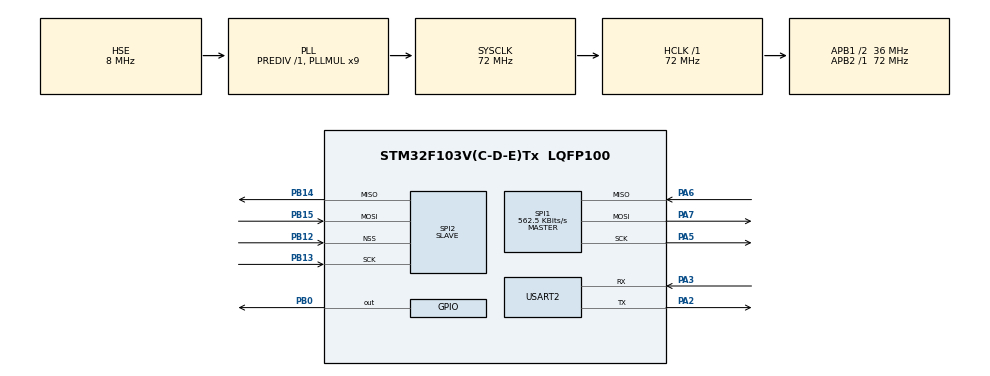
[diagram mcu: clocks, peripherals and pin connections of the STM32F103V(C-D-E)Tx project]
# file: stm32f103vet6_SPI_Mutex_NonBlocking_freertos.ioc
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FREERTOS.Tasks01=defaultTask,0,128,StartDefaultTask,Default,NULL,Dynamic,NULL,NULL;SpiTask1,0,256,StartSpiTask1,Default,NULL,Dynamic,NULL,NULL;SpiTask2,0,256,StartSpiTask2,Default,NULL,Dynamic,NULL,NULL
Mcu.Family=STM32F1
Mcu.Name=STM32F103V(C-D-E)Tx
Mcu.Package=LQFP100
NVIC.PriorityGroup=NVIC_PRIORITYGROUP_4
NVIC.SPI1_IRQn=true\:5\:0\:true\:false\:true\:true\:true\:true\:true
NVIC.SPI2_IRQn=true\:5\:0\:true\:false\:true\:true\:true\:true\:true
OSC_IN.Mode=HSE-External-Oscillator
OSC_IN.Signal=RCC_OSC_IN
OSC_OUT.Mode=HSE-External-Oscillator
OSC_OUT.Signal=RCC_OSC_OUT
PA13.Mode=Serial_Wire
PA13.Signal=SYS_JTMS-SWDIO
PA14.Mode=Serial_Wire
PA14.Signal=SYS_JTCK-SWCLK
PA2.Mode=Asynchronous
PA2.Signal=USART2_TX
PA3.Mode=Asynchronous
PA3.Signal=USART2_RX
PA5.Mode=Full_Duplex_Master
PA5.Signal=SPI1_SCK
PA6.Mode=Full_Duplex_Master
PA6.Signal=SPI1_MISO
PA7.Mode=Full_Duplex_Master
PA7.Signal=SPI1_MOSI
PB0.PinState=GPIO_PIN_SET
PB0.Signal=GPIO_Output
PB12.GPIO_PuPd=GPIO_NOPULL
PB12.Mode=NSS_Signal_Hard_Input
PB12.Signal=SPI2_NSS
PB13.Mode=Full_Duplex_Slave
PB13.Signal=SPI2_SCK
PB14.Mode=Full_Duplex_Slave
PB14.Signal=SPI2_MISO
PB15.Mode=Full_Duplex_Slave
PB15.Signal=SPI2_MOSI
ProjectManager.HeapSize=0x200
ProjectManager.StackSize=0x400
ProjectManager.TargetToolchain=STM32CubeIDE
RCC.AHBFreq_Value=72000000
RCC.APB1CLKDivider=RCC_HCLK_DIV2
RCC.APB1Freq_Value=36000000
RCC.APB1TimFreq_Value=72000000
RCC.APB2Freq_Value=72000000
RCC.APB2TimFreq_Value=72000000
RCC.HCLKFreq_Value=72000000
RCC.PLLMUL=RCC_PLL_MUL9
RCC.PLLSourceVirtual=RCC_PLLSOURCE_HSE
RCC.SYSCLKFreq_VALUE=72000000
RCC.SYSCLKSource=RCC_SYSCLKSOURCE_PLLCLK
RCC.USBFreq_Value=72000000
SPI1.BaudRatePrescaler=SPI_BAUDRATEPRESCALER_128
SPI1.CLKPhase=SPI_PHASE_2EDGE
SPI1.CalculateBaudRate=562.5 KBits/s
SPI1.Direction=SPI_DIRECTION_2LINES
SPI1.Mode=SPI_MODE_MASTER
SPI1.VirtualType=VM_MASTER
SPI2.CLKPhase=SPI_PHASE_2EDGE
SPI2.Direction=SPI_DIRECTION_2LINES
SPI2.Mode=SPI_MODE_SLAVE
SPI2.VirtualNSS=VM_NSSHARD
SPI2.VirtualType=VM_SLAVE
USART2.VirtualMode=VM_ASYNC
VP_FREERTOS_VS_CMSIS_V1.Mode=CMSIS_V1
board=custom

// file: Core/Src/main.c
/* USER CODE BEGIN Header */
/**
  ******************************************************************************
  * @file           : main.c
  * @brief          : Main program body
  ******************************************************************************
  * @attention
  *
  * Copyright (c) 2026 STMicroelectronics.
  * All rights reserved.
  *
  * This software is licensed under terms that can be found in the LICENSE file
  * in the root directory of this software component.
  * If no LICENSE file comes with this software, it is provided AS-IS.
  *
  ******************************************************************************
  */
/* USER CODE END Header */
#include "main.h"
#include "cmsis_os.h"

/* USER CODE BEGIN Includes */
#include "task.h"
#include "semphr.h"
#include <stdio.h>
#include <string.h>

/* USER CODE END Includes */

/* USER CODE BEGIN PD */
#define SPI_DATA_LEN              4

#define SPI_STATUS_WAIT           0
#define SPI_STATUS_DONE           1
#define SPI_STATUS_ERROR          0xFF

#define SPI_SLAVE_BASE_RESPONSE   0x5A
#define SPI_TRANSACTION_TIMEOUT   pdMS_TO_TICKS(100)

/* USER CODE END PD */

SPI_HandleTypeDef hspi1;
SPI_HandleTypeDef hspi2;

UART_HandleTypeDef huart2;

osThreadId defaultTaskHandle;
osThreadId SpiTask1Handle;
osThreadId SpiTask2Handle;
/* USER CODE BEGIN PV */
SemaphoreHandle_t spiMutexHandle;
TaskHandle_t spiWaitingTaskHandle = NULL;

volatile uint8_t spi1Status = SPI_STATUS_WAIT;
volatile uint8_t spi2Status = SPI_STATUS_WAIT;

uint8_t slaveTx[SPI_DATA_LEN];
uint8_t slaveRx[SPI_DATA_LEN];

/* USER CODE END PV */

void SystemClock_Config(void);
static void MX_GPIO_Init(void);
static void MX_SPI1_Init(void);
static void MX_SPI2_Init(void);
static void MX_USART2_UART_Init(void);
void StartDefaultTask(void const * argument);
void StartSpiTask1(void const * argument);
void StartSpiTask2(void const * argument);

/* USER CODE BEGIN PFP */
HAL_StatusTypeDef SPI1_Transaction(uint8_t *txBuf,
                                   uint8_t *rxBuf,
                                   uint16_t len,
                                   TickType_t timeout);

/* USER CODE END PFP */

int main(void)
{

  /* MCU Configuration--------------------------------------------------------*/

  /* Reset of all peripherals, Initializes the Flash interface and the Systick. */
  HAL_Init();

  /* Configure the system clock */
  SystemClock_Config();

  /* Initialize all configured peripherals */
  MX_GPIO_Init();
  MX_SPI1_Init();
  MX_SPI2_Init();
  MX_USART2_UART_Init();
  /* USER CODE BEGIN 2 */
  spiMutexHandle = xSemaphoreCreateMutex();
  if (spiMutexHandle == NULL)
  {
      Error_Handler();
  }

  /* USER CODE END 2 */

  /* Create the thread(s) */
  /* definition and creation of defaultTask */
  osThreadDef(defaultTask, StartDefaultTask, osPriorityNormal, 0, 128);
  defaultTaskHandle = osThreadCreate(osThread(defaultTask), NULL);

  /* definition and creation of SpiTask1 */
  osThreadDef(SpiTask1, StartSpiTask1, osPriorityNormal, 0, 256);
  SpiTask1Handle = osThreadCreate(osThread(SpiTask1), NULL);

  /* definition and creation of SpiTask2 */
  osThreadDef(SpiTask2, StartSpiTask2, osPriorityNormal, 0, 256);
  SpiTask2Handle = osThreadCreate(osThread(SpiTask2), NULL);

  /* Start scheduler */
  osKernelStart();

  /* We should never get here as control is now taken by the scheduler */

  /* Infinite loop */
  while (1)
  {

  }
}

void SystemClock_Config(void)
{
  RCC_OscInitTypeDef RCC_OscInitStruct = {0};
  RCC_ClkInitTypeDef RCC_ClkInitStruct = {0};

  /** Initializes the RCC Oscillators according to the specified parameters
  * in the RCC_OscInitTypeDef structure.
  */
  RCC_OscInitStruct.OscillatorType = RCC_OSCILLATORTYPE_HSE;
  RCC_OscInitStruct.HSEState = RCC_HSE_ON;
  RCC_OscInitStruct.HSEPredivValue = RCC_HSE_PREDIV_DIV1;
  RCC_OscInitStruct.HSIState = RCC_HSI_ON;
  RCC_OscInitStruct.PLL.PLLState = RCC_PLL_ON;
  RCC_OscInitStruct.PLL.PLLSource = RCC_PLLSOURCE_HSE;
  RCC_OscInitStruct.PLL.PLLMUL = RCC_PLL_MUL9;
  if (HAL_RCC_OscConfig(&RCC_OscInitStruct) != HAL_OK)
  {
    Error_Handler();
  }

  /** Initializes the CPU, AHB and APB buses clocks
  */
  RCC_ClkInitStruct.ClockType = RCC_CLOCKTYPE_HCLK|RCC_CLOCKTYPE_SYSCLK
                              |RCC_CLOCKTYPE_PCLK1|RCC_CLOCKTYPE_PCLK2;
  RCC_ClkInitStruct.SYSCLKSource = RCC_SYSCLKSOURCE_PLLCLK;
  RCC_ClkInitStruct.AHBCLKDivider = RCC_SYSCLK_DIV1;
  RCC_ClkInitStruct.APB1CLKDivider = RCC_HCLK_DIV2;
  RCC_ClkInitStruct.APB2CLKDivider = RCC_HCLK_DIV1;

  if (HAL_RCC_ClockConfig(&RCC_ClkInitStruct, FLASH_LATENCY_2) != HAL_OK)
  {
    Error_Handler();
  }
}

static void MX_SPI1_Init(void)
{

  /* SPI1 parameter configuration*/
  hspi1.Instance = SPI1;
  hspi1.Init.Mode = SPI_MODE_MASTER;
  hspi1.Init.Direction = SPI_DIRECTION_2LINES;
  hspi1.Init.DataSize = SPI_DATASIZE_8BIT;
  hspi1.Init.CLKPolarity = SPI_POLARITY_LOW;
  hspi1.Init.CLKPhase = SPI_PHASE_2EDGE;
  hspi1.Init.NSS = SPI_NSS_SOFT;
  hspi1.Init.BaudRatePrescaler = SPI_BAUDRATEPRESCALER_128;
  hspi1.Init.FirstBit = SPI_FIRSTBIT_MSB;
  hspi1.Init.TIMode = SPI_TIMODE_DISABLE;
  hspi1.Init.CRCCalculation = SPI_CRCCALCULATION_DISABLE;
  hspi1.Init.CRCPolynomial = 10;
  if (HAL_SPI_Init(&hspi1) != HAL_OK)
  {
    Error_Handler();
  }

}

static void MX_SPI2_Init(void)
{

  /* SPI2 parameter configuration*/
  hspi2.Instance = SPI2;
  hspi2.Init.Mode = SPI_MODE_SLAVE;
  hspi2.Init.Direction = SPI_DIRECTION_2LINES;
  hspi2.Init.DataSize = SPI_DATASIZE_8BIT;
  hspi2.Init.CLKPolarity = SPI_POLARITY_LOW;
  hspi2.Init.CLKPhase = SPI_PHASE_2EDGE;
  hspi2.Init.NSS = SPI_NSS_HARD_INPUT;
  hspi2.Init.FirstBit = SPI_FIRSTBIT_MSB;
  hspi2.Init.TIMode = SPI_TIMODE_DISABLE;
  hspi2.Init.CRCCalculation = SPI_CRCCALCULATION_DISABLE;
  hspi2.Init.CRCPolynomial = 10;
  if (HAL_SPI_Init(&hspi2) != HAL_OK)
  {
    Error_Handler();
  }

}

static void MX_USART2_UART_Init(void)
{

  huart2.Instance = USART2;
  huart2.Init.BaudRate = 115200;
  huart2.Init.WordLength = UART_WORDLENGTH_8B;
  huart2.Init.StopBits = UART_STOPBITS_1;
  huart2.Init.Parity = UART_PARITY_NONE;
  huart2.Init.Mode = UART_MODE_TX_RX;
  huart2.Init.HwFlowCtl = UART_HWCONTROL_NONE;
  huart2.Init.OverSampling = UART_OVERSAMPLING_16;
  if (HAL_UART_Init(&huart2) != HAL_OK)
  {
    Error_Handler();
  }

}

static void MX_GPIO_Init(void)
{
  GPIO_InitTypeDef GPIO_InitStruct = {0};

  /* GPIO Ports Clock Enable */
  __HAL_RCC_GPIOA_CLK_ENABLE();
  __HAL_RCC_GPIOB_CLK_ENABLE();

  /*Configure GPIO pin Output Level */
  HAL_GPIO_WritePin(GPIOB, GPIO_PIN_0, GPIO_PIN_SET);

  /*Configure GPIO pin : PB0 */
  GPIO_InitStruct.Pin = GPIO_PIN_0;
  GPIO_InitStruct.Mode = GPIO_MODE_OUTPUT_PP;
  GPIO_InitStruct.Pull = GPIO_NOPULL;
  GPIO_InitStruct.Speed = GPIO_SPEED_FREQ_LOW;
  HAL_GPIO_Init(GPIOB, &GPIO_InitStruct);

}

/* USER CODE BEGIN 4 */
void HAL_SPI_TxRxCpltCallback(SPI_HandleTypeDef *hspi)
{
    BaseType_t xHigherPriorityTaskWoken = pdFALSE;

    if (hspi->Instance == SPI1)
    {
        spi1Status = SPI_STATUS_DONE;

        if (spiWaitingTaskHandle != NULL)
        {
            vTaskNotifyGiveFromISR(spiWaitingTaskHandle, &xHigherPriorityTaskWoken);
            portYIELD_FROM_ISR(xHigherPriorityTaskWoken);
        }
    }
    else if (hspi->Instance == SPI2)
    {
        spi2Status = SPI_STATUS_DONE;
    }
}

void HAL_SPI_ErrorCallback(SPI_HandleTypeDef *hspi)
{
    BaseType_t xHigherPriorityTaskWoken = pdFALSE;

    if (hspi->Instance == SPI1)
    {
        spi1Status = SPI_STATUS_ERROR;

        if (spiWaitingTaskHandle != NULL)
        {
            vTaskNotifyGiveFromISR(spiWaitingTaskHandle, &xHigherPriorityTaskWoken);
            portYIELD_FROM_ISR(xHigherPriorityTaskWoken);
        }
    }
    else if (hspi->Instance == SPI2)
    {
        spi2Status = SPI_STATUS_ERROR;
    }
}

HAL_StatusTypeDef SPI1_Transaction(uint8_t *txBuf,
                                   uint8_t *rxBuf,
                                   uint16_t len,
                                   TickType_t timeout)
{
    HAL_StatusTypeDef retSlave;
    HAL_StatusTypeDef retMaster;
    TickType_t startTick;

    if (xSemaphoreTake(spiMutexHandle, timeout) != pdTRUE)
    {
        return HAL_TIMEOUT;
    }

    if (len > SPI_DATA_LEN)
    {
    	xSemaphoreGive(spiMutexHandle);
        return HAL_ERROR;
    }

    if (hspi1.State != HAL_SPI_STATE_READY)
    {
        HAL_SPI_Abort(&hspi1);
    }

    if (hspi2.State != HAL_SPI_STATE_READY)
    {
        HAL_SPI_Abort(&hspi2);
    }

    spi1Status = SPI_STATUS_WAIT;
    spi2Status = SPI_STATUS_WAIT;
    spiWaitingTaskHandle = xTaskGetCurrentTaskHandle();
    ulTaskNotifyTake(pdTRUE, 0);

    for (uint16_t i = 0; i < len; i++)
    {
        slaveTx[i] = SPI_SLAVE_BASE_RESPONSE + i;
        slaveRx[i] = 0x00;
    }

    HAL_GPIO_WritePin(GPIOB, GPIO_PIN_0, GPIO_PIN_SET);

    retSlave = HAL_SPI_TransmitReceive_IT(&hspi2, slaveTx, slaveRx, len);
    if (retSlave != HAL_OK)
    {
        HAL_GPIO_WritePin(GPIOB, GPIO_PIN_0, GPIO_PIN_SET);
        spiWaitingTaskHandle = NULL;
        xSemaphoreGive(spiMutexHandle);
        return retSlave;
    }

    HAL_GPIO_WritePin(GPIOB, GPIO_PIN_0, GPIO_PIN_RESET);
    for (volatile uint32_t i = 0; i < 1000U; i++)
    {
        __NOP();
    }

    retMaster = HAL_SPI_TransmitReceive_IT(&hspi1, txBuf, rxBuf, len);
    if (retMaster != HAL_OK)
    {
        HAL_GPIO_WritePin(GPIOB, GPIO_PIN_0, GPIO_PIN_SET);
        HAL_SPI_Abort(&hspi1);
        HAL_SPI_Abort(&hspi2);

        spiWaitingTaskHandle = NULL;
        xSemaphoreGive(spiMutexHandle);
        return retMaster;
    }

    if (ulTaskNotifyTake(pdTRUE, timeout) == 0)
    {
        HAL_GPIO_WritePin(GPIOB, GPIO_PIN_0, GPIO_PIN_SET);
        HAL_SPI_Abort(&hspi1);
        HAL_SPI_Abort(&hspi2);

        spiWaitingTaskHandle = NULL;
        xSemaphoreGive(spiMutexHandle);
        return HAL_TIMEOUT;
    }

    startTick = xTaskGetTickCount();
    while (spi2Status == SPI_STATUS_WAIT)
    {
        if ((xTaskGetTickCount() - startTick) > timeout)
        {
            HAL_GPIO_WritePin(GPIOB, GPIO_PIN_0, GPIO_PIN_SET);
            HAL_SPI_Abort(&hspi1);
            HAL_SPI_Abort(&hspi2);

            spiWaitingTaskHandle = NULL;
            xSemaphoreGive(spiMutexHandle);
            return HAL_TIMEOUT;
        }

        osDelay(1);
    }

    HAL_GPIO_WritePin(GPIOB, GPIO_PIN_0, GPIO_PIN_SET);

    spiWaitingTaskHandle = NULL;
    xSemaphoreGive(spiMutexHandle);

    if (spi1Status == SPI_STATUS_ERROR || spi2Status == SPI_STATUS_ERROR)
    {
        return HAL_ERROR;
    }

    return HAL_OK;
}

/* USER CODE END 4 */

void StartDefaultTask(void const * argument)
{
  for(;;)
  {
    osDelay(1);
  }
}

void StartSpiTask1(void const * argument)
{
  /* USER CODE BEGIN StartSpiTask1 */
	uint8_t txBuf[SPI_DATA_LEN];
	uint8_t rxBuf[SPI_DATA_LEN];
	char msg[160];

  /* Infinite loop */
  for(;;)
  {
	  txBuf[0] = 0xA5;
	  txBuf[1] = 0x1F;
	  txBuf[2] = 0xB2;
	  txBuf[3] = 0x3E;

	  memset(rxBuf, 0, sizeof(rxBuf));

      if (SPI1_Transaction(txBuf, rxBuf, SPI_DATA_LEN, SPI_TRANSACTION_TIMEOUT) == HAL_OK)
      {
    	  snprintf(msg, sizeof(msg),
    	           "Task 1 TX=%02X %02X %02X %02X | RX=%02X %02X %02X %02X | DEV=%02X %02X %02X %02X\r\n",
    	           txBuf[0], txBuf[1], txBuf[2], txBuf[3],
    	           rxBuf[0], rxBuf[1], rxBuf[2], rxBuf[3],
    	           slaveRx[0], slaveRx[1], slaveRx[2], slaveRx[3]);
      }
      else
      {
    	  snprintf(msg, sizeof(msg), "Task 1 Error \r\n");
      }

      HAL_UART_Transmit(&huart2, (uint8_t*)msg, strlen(msg), HAL_MAX_DELAY);
      osDelay(500);
  }
  /* USER CODE END StartSpiTask1 */
}

void StartSpiTask2(void const * argument)
{
  /* USER CODE BEGIN StartSpiTask2 */
	uint8_t txBuf[SPI_DATA_LEN];
	uint8_t rxBuf[SPI_DATA_LEN];
	char msg[160];
  /* Infinite loop */
  for(;;)
  {
	  txBuf[0] = 0x8C;
	  txBuf[1] = 0x4D;
	  txBuf[2] = 0x55;
	  txBuf[3] = 0x66;

	  memset(rxBuf, 0, sizeof(rxBuf));

      if (SPI1_Transaction(txBuf, rxBuf, SPI_DATA_LEN, SPI_TRANSACTION_TIMEOUT) == HAL_OK)
      {
    	  snprintf(msg, sizeof(msg),
    	           "Task 2 TX=%02X %02X %02X %02X | RX=%02X %02X %02X %02X | DEV=%02X %02X %02X %02X\r\n",
    	           txBuf[0], txBuf[1], txBuf[2], txBuf[3],
    	           rxBuf[0], rxBuf[1], rxBuf[2], rxBuf[3],
    	           slaveRx[0], slaveRx[1], slaveRx[2], slaveRx[3]);
      }
      else
      {
    	  snprintf(msg, sizeof(msg), "Task 2 Error \r\n");
      }

      HAL_UART_Transmit(&huart2, (uint8_t*)msg, strlen(msg), HAL_MAX_DELAY);
      osDelay(1000);
  }
  /* USER CODE END StartSpiTask2 */
}

void Error_Handler(void)
{
  __disable_irq();
  while (1)
  {
  }
}
